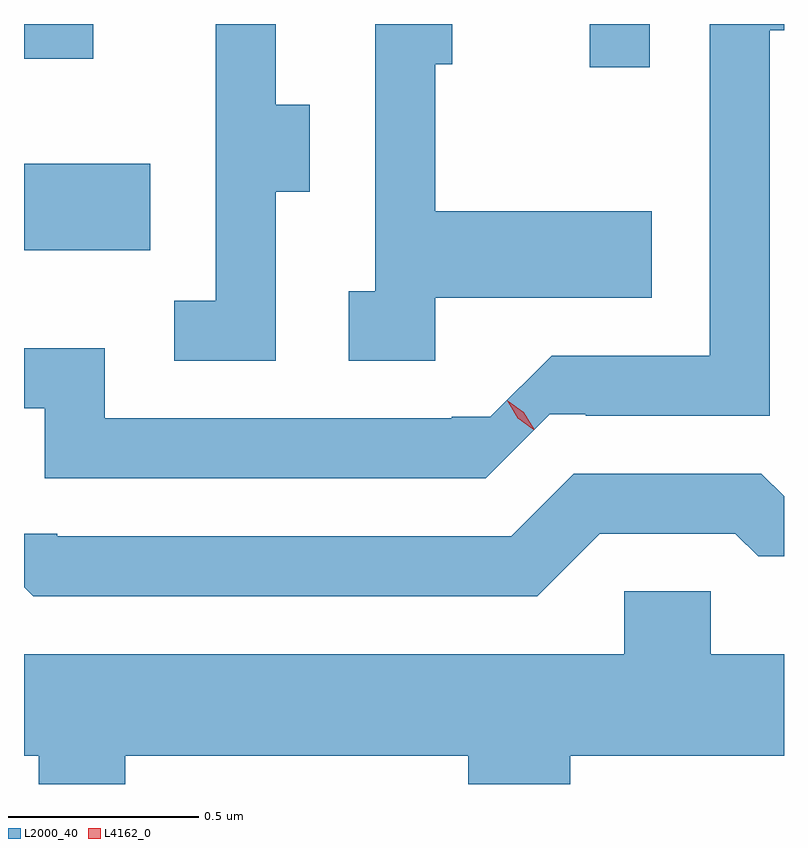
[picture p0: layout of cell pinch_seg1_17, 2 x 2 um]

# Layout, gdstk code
import gdstk
lib = gdstk.Library(unit=1e-6, precision=1e-09)
def R(c, l, rs):  # rectangles x0, y0, x1, y1
    for r in rs: c.add(gdstk.rectangle(r[:2], r[2:], *l))
def P(c, l, *ps):  # polygons
    for p in ps: c.add(gdstk.Polygon(p, *l))
L2000_40 = (2000, 40)
L4162_0 = (4162, 0)

pinch_seg1_17 = lib.new_cell('pinch_seg1_17')
R(pinch_seg1_17, L2000_40, [(1812.307,876.486,1812.639,876.714), (1813.796,876.968,1813.954,877.082), (1812.307,876.991,1812.489,877.082)])
P(pinch_seg1_17, L2000_40, [(1813.389,876.361),(1813.959,876.361),(1813.959,876.589),(1813.389,876.589),(1813.389,876.976),(1813.434,876.976),(1813.434,877.082),(1813.231,877.082),(1813.231,876.379),(1813.161,876.379),(1813.161,876.196),(1813.389,876.196)],
  [(1813.691,876.055),(1813.785,876.055),(1813.785,876.051),(1814.269,876.051),(1814.269,877.066),(1814.307,877.066),(1814.307,877.082),(1814.111,877.082),(1814.111,876.209),(1813.696,876.209),(1813.534,876.048),(1813.432,876.048),(1813.432,876.044),(1812.519,876.044),(1812.519,876.229),(1812.307,876.229),(1812.307,876.071),(1812.361,876.071),(1812.361,875.886),(1813.522,875.886)],
  [(1812.969,876.641),(1813.059,876.641),(1813.059,876.869),(1812.969,876.869),(1812.969,877.082),(1812.811,877.082),(1812.811,876.354),(1812.703,876.354),(1812.703,876.196),(1812.969,876.196)],
  [(1813.822,875.741),(1814.179,875.741),(1814.239,875.681),(1814.307,875.681),(1814.307,875.839),(1814.247,875.899),(1813.754,875.899),(1813.589,875.734),(1812.395,875.734),(1812.395,875.741),(1812.307,875.741),(1812.307,875.6),(1812.331,875.576),(1813.657,875.576)],
  [(1812.574,875.156),(1813.476,875.156),(1813.476,875.082),(1813.744,875.082),(1813.744,875.156),(1814.307,875.156),(1814.307,875.424),(1814.114,875.424),(1814.114,875.589),(1813.886,875.589),(1813.886,875.424),(1812.307,875.424),(1812.307,875.156),(1812.346,875.156),(1812.346,875.082),(1812.574,875.082)])
P(pinch_seg1_17, L4162_0, [(1813.649,876.014),(1813.607,876.046),(1813.579,876.091),(1813.579,876.091),(1813.58,876.091),(1813.622,876.06),(1813.65,876.015),(1813.65,876.014)],
  [(1813.645,876.017),(1813.606,876.045),(1813.581,876.086),(1813.581,876.087),(1813.582,876.087),(1813.621,876.058),(1813.645,876.017),(1813.645,876.017)])

lib.write_gds('pinch_seg1_17.gds')
